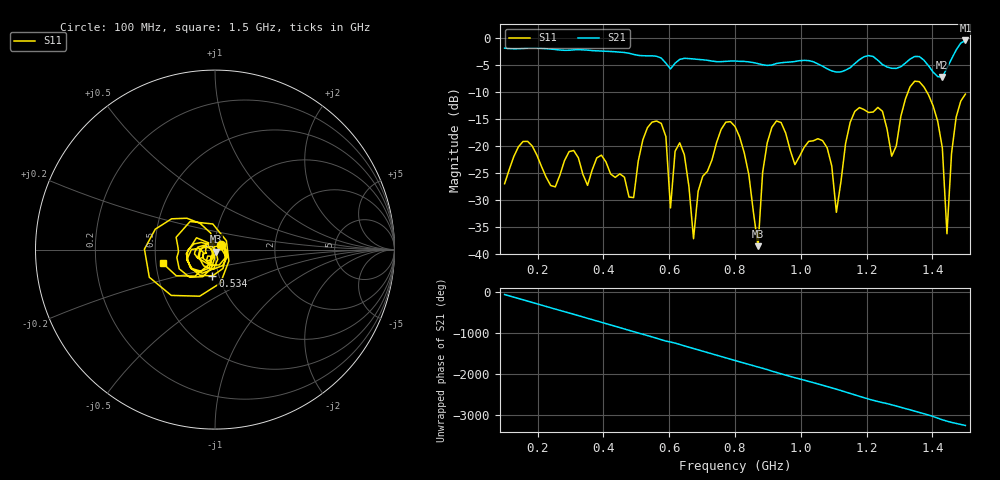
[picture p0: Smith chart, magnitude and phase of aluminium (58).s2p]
! NanoVNA-App
! Date: 2025-09-26 09:58:31
! Start: 100MHz Stop: 1,5GHz Points: 101
! S-Parameter data: F S11 S21 S12 S22
# Hz S RI R 50
!  Frequency  S11_Real  S11_Imag  S21_Real  S21_Imag  S12_Real  S12_Imag  S22_Real  S22_Imag
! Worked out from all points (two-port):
!   101 points, 100 MHz to 1.5 GHz, reference 50 ohm
!   highest |S21| = -0.49 dB at 1.5 GHz (marker M1); lowest = -7.3 dB at 1.43 GHz (marker M2)
!   |S21| within 3 dB of the highest: start of sweep to 565.1 MHz; 1.461 GHz to end of sweep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
!   lowest |S11| = -38.5 dB at 870 MHz (marker M3), VSWR 1.02, Z = 50.5 - j1.09 ohm
!   |S11| at or under -10 dB: start of sweep to 1.326 GHz; 1.383 GHz to end of sweep
!   S12 and S22 are empty: the file has one direction only
!   S11 on the Smith chart (normalised r, x): 100 MHz: 1.07, +0.06; 534 MHz: 0.93, -0.28; 1.5 GHz: 0.54, -0.09
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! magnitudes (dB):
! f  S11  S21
! 100 MHz  -27.0  -1.9
! 156 MHz  -19.2  -2.0
! 338 MHz  -25.3  -2.2
! 492 MHz  -29.5  -3.1
! 534 MHz  -16.6  -3.3
! 576 MHz  -15.8  -3.7
! 604 MHz  -31.5  -5.8
! 632 MHz  -19.4  -4.0
! 674 MHz  -37.1  -3.9
! 702 MHz  -25.6  -4.1
! 800 MHz  -16.4  -4.3
! 870 MHz  -38.5  -4.8
! 912 MHz  -16.5  -5.0
! 1.038 GHz  -19.0  -4.4
! 1.108 GHz  -32.3  -6.3
! 1.164 GHz  -13.6  -4.8
! 1.276 GHz  -21.9  -5.6
! 1.346 GHz  -8.0  -3.5
! 1.43 GHz  -20.4  -7.3
! 1.444 GHz  -36.2  -5.6
! 1.472 GHz  -14.6  -2.2
! 1.5 GHz  -10.4  -0.5
